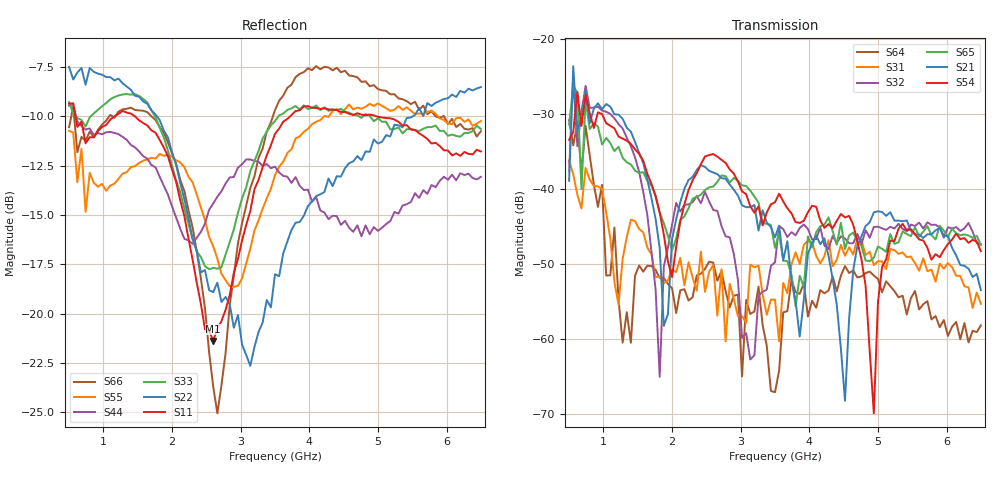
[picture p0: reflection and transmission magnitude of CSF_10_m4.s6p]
!Keysight Technologies,M9804A,MY58100912,A.14.10.03
!Date: Thursday, April 27, 2023 10:28:33
!Correction: S11(C  6-Port  )
!S12(C  6-Port  )
!S13(C  6-Port  )
!S14(C  6-Port  )
!S15(C  6-Port  )
!S16(C  6-Port  )
!S21(C  6-Port  )
!S22(C  6-Port  )
!S23(C  6-Port  )
!S24(C  6-Port  )
!S25(C  6-Port  )
!S26(C  6-Port  )
!S31(C  6-Port  )
!S32(C  6-Port  )
!S33(C  6-Port  )
!S34(C  6-Port  )
!S35(C  6-Port  )
!S36(C  6-Port  )
!S41(C  6-Port  )
!S42(C  6-Port  )
!S43(C  6-Port  )
!S44(C  6-Port  )
!S45(C  6-Port  )
!S46(C  6-Port  )
!S51(C  6-Port  )
!S52(C  6-Port  )
!S53(C  6-Port  )
!S54(C  6-Port  )
!S55(C  6-Port  )
!S56(C  6-Port  )
!S61(C  6-Port  )
!S62(C  6-Port  )
!S63(C  6-Port  )
!S64(C  6-Port  )
!S65(C  6-Port  )
!S66(C  6-Port  )
!S6P File: Measurement: :
# Hz S  RI  R 50
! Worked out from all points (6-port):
!   101 points, 500 MHz to 6.5 GHz, reference 50 ohm
!   strongest paths, dB at 500 MHz, 2 GHz, 3.5 GHz, 5 GHz, 6.5 GHz:
!     S54: -33.4, -51.7, -41.8, -55.2, -48.3
!     S21: -38.9, -46.7, -46.4, -43.0, -53.5
!     S65: -31.4, -48.2, -47.9, -47.7, -47.5
!     S32: -37.5, -44.7, -49.8, -45.0, -47.4
!     S31: -36.2, -50.7, -54.7, -49.6, -55.3
!     S64: -30.8, -53.2, -67.1, -52.0, -58.2
!   lowest |S11| = -21.4 dB at 2.6 GHz (marker M1), VSWR 1.19, Z = 42.5 + j2.31 ohm
!   |S11| at or under -10 dB: 593.4 MHz to 1.157 GHz (563.4 MHz wide, 64.4 % of centre); 1.462 GHz to 3.718 GHz (2.256 GHz wide, 87.1 % of centre); 4.987 GHz to end of sweep
